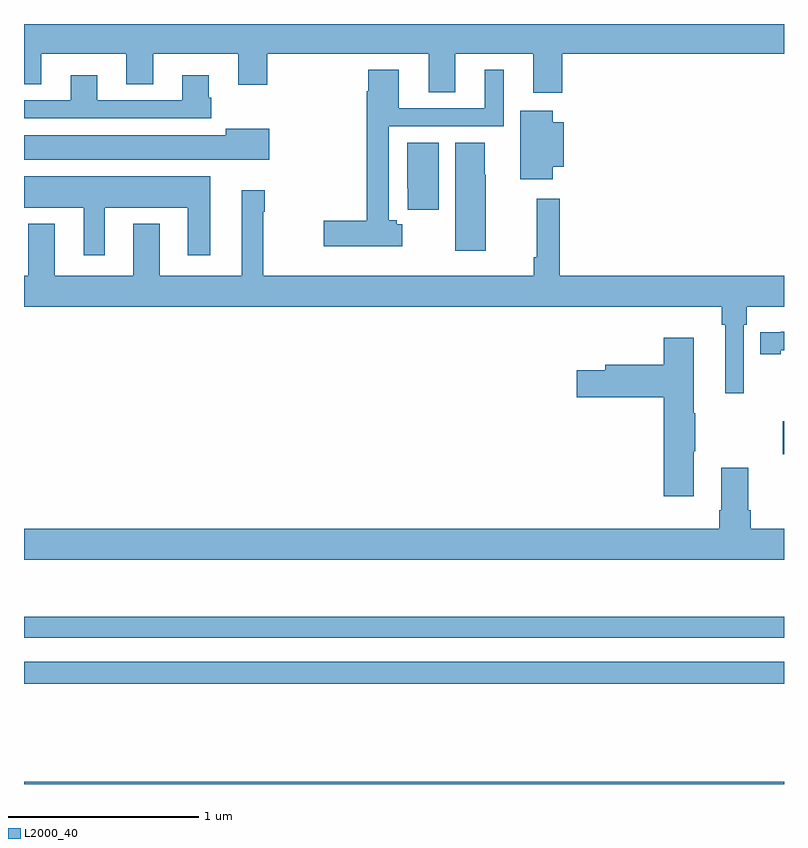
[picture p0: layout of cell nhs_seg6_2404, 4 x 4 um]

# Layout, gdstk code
import gdstk
lib = gdstk.Library(unit=1e-6, precision=1e-09)
def R(c, l, rs):  # rectangles x0, y0, x1, y1
    for r in rs: c.add(gdstk.rectangle(r[:2], r[2:], *l))
def P(c, l, *ps):  # polygons
    for p in ps: c.add(gdstk.Polygon(p, *l))
L2000_40 = (2000, 40)

nhs_seg6_2404 = lib.new_cell('nhs_seg6_2404')
R(nhs_seg6_2404, L2000_40, [(255,935.5,259,935.512), (255,936.028,259,936.144), (255,936.27,259,936.379), (258.993,937.235,259,937.409)])
P(nhs_seg6_2404, L2000_40, [(257.834,939.344),(259,939.344),(259,939.5),(255,939.5),(255,939.184),(255.091,939.184),(255.091,939.344),(255.539,939.344),(255.539,939.184),(255.679,939.184),(255.679,939.344),(256.127,939.344),(256.127,939.18),(256.279,939.18),(256.279,939.344),(257.129,939.344),(257.129,939.142),(257.269,939.142),(257.269,939.344),(257.681,939.344),(257.681,939.138),(257.834,939.138)],
  [(256.991,938.447),(256.962,938.447),(256.962,938.466),(256.92,938.466),(256.92,938.961),(257.524,938.961),(257.524,939.259),(257.426,939.259),(257.426,939.057),(256.972,939.057),(256.972,939.259),(256.811,939.259),(256.811,939.146),(256.804,939.146),(256.804,938.465),(256.578,938.465),(256.578,938.33),(256.991,938.33)],
  [(255.986,939.111),(255.973,939.111),(255.973,939.229),(255.833,939.229),(255.833,939.099),(255.385,939.099),(255.385,939.229),(255.245,939.229),(255.245,939.099),(255,939.099),(255,939.003),(255.986,939.003)],
  [(257.783,938.75),(257.842,938.75),(257.842,938.983),(257.783,938.983),(257.783,939.043),(257.612,939.043),(257.612,938.682),(257.783,938.682)],
  [(256.291,938.95),(256.061,938.95),(256.061,938.914),(255,938.914),(255,938.786),(256.291,938.786)],
  [(257.431,938.706),(257.425,938.706),(257.425,938.876),(257.27,938.876),(257.27,938.307),(257.431,938.307)],
  [(257.182,938.876),(257.018,938.876),(257.018,938.635),(257.02,938.635),(257.02,938.523),(257.182,938.523)],
  [(255.424,938.534),(255.863,938.534),(255.863,938.283),(255.979,938.283),(255.979,938.698),(255,938.698),(255,938.534),(255.314,938.534),(255.314,938.283),(255.424,938.283)],
  [(258.789,937.916),(258.803,937.916),(258.803,938.012),(259,938.012),(259,938.176),(257.819,938.176),(257.819,938.581),(257.698,938.581),(257.698,938.272),(257.683,938.272),(257.683,938.176),(256.259,938.176),(256.259,938.513),(256.267,938.513),(256.267,938.626),(256.145,938.626),(256.145,938.176),(255.715,938.176),(255.715,938.449),(255.575,938.449),(255.575,938.176),(255.163,938.176),(255.163,938.449),(255.023,938.449),(255.023,938.176),(255,938.176),(255,938.012),(258.673,938.012),(258.673,937.916),(258.692,937.916),(258.692,937.557),(258.789,937.557)],
  [(258.982,937.782),(259,937.782),(259,937.879),(258.982,937.879),(258.982,937.878),(258.874,937.878),(258.874,937.762),(258.982,937.762)],
  [(258.526,937.252),(258.534,937.252),(258.534,937.451),(258.526,937.451),(258.526,937.849),(258.368,937.849),(258.368,937.707),(258.059,937.707),(258.059,937.677),(257.91,937.677),(257.91,937.535),(258.368,937.535),(258.368,937.014),(258.526,937.014)],
  [(259,936.844),(258.824,936.844),(258.824,936.94),(258.811,936.94),(258.811,937.165),(258.671,937.165),(258.671,936.94),(258.659,936.94),(258.659,936.844),(255,936.844),(255,936.68),(259,936.68)])

lib.write_gds('nhs_seg6_2404.gds')
